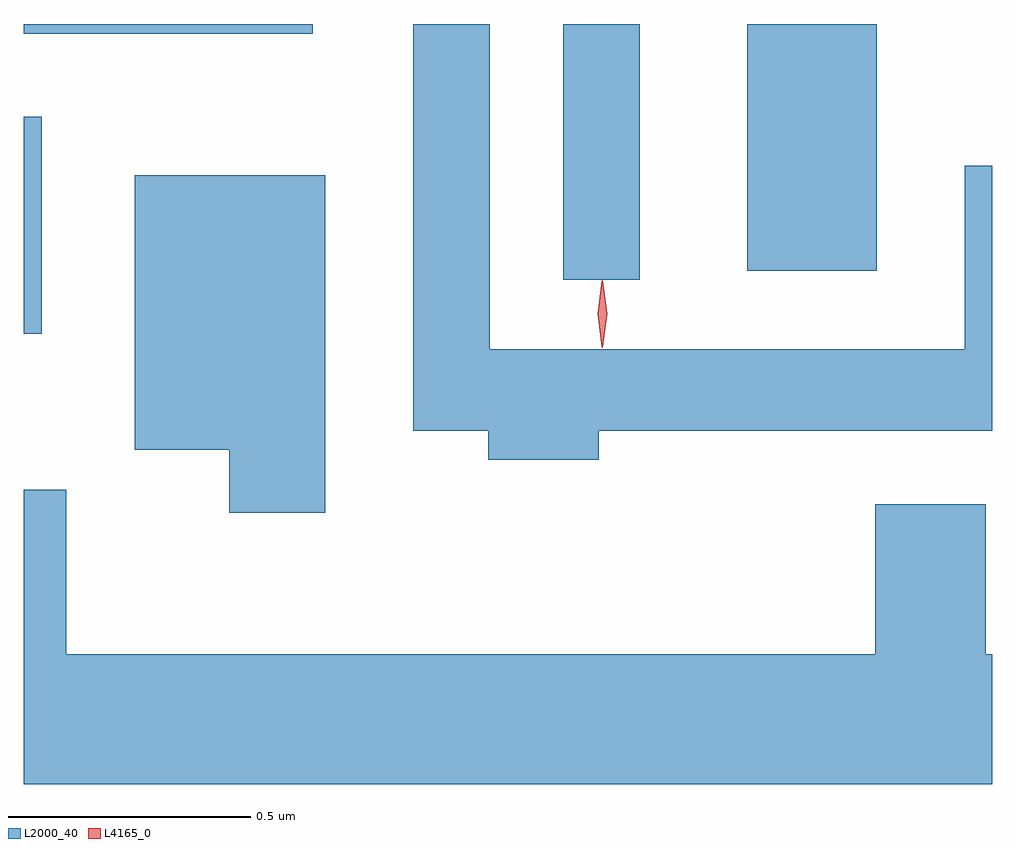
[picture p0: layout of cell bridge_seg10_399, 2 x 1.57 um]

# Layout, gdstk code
import gdstk
lib = gdstk.Library(unit=1e-6, precision=1e-09)
def R(c, l, rs):  # rectangles x0, y0, x1, y1
    for r in rs: c.add(gdstk.rectangle(r[:2], r[2:], *l))
def P(c, l, *ps):  # polygons
    for p in ps: c.add(gdstk.Polygon(p, *l))
L2000_40 = (2000, 40)
L4165_0 = (4165, 0)

bridge_seg10_399 = lib.new_cell('bridge_seg10_399')
R(bridge_seg10_399, L2000_40, [(1062.912,2125.946,1062.949,2126.394), (1064.026,2126.058,1064.184,2126.586), (1064.406,2126.076,1064.674,2126.586), (1062.912,2126.566,1063.509,2126.586)])
P(bridge_seg10_399, L2000_40, [(1064.099,2125.746),(1064.912,2125.746),(1064.912,2126.293),(1064.856,2126.293),(1064.856,2125.914),(1063.874,2125.914),(1063.874,2126.586),(1063.716,2126.586),(1063.716,2125.746),(1063.871,2125.746),(1063.871,2125.686),(1064.099,2125.686)],
  [(1063.534,2126.274),(1063.141,2126.274),(1063.141,2125.706),(1063.336,2125.706),(1063.336,2125.576),(1063.534,2125.576)],
  [(1064.912,2125.284),(1064.899,2125.284),(1064.899,2125.594),(1064.671,2125.594),(1064.671,2125.284),(1062.999,2125.284),(1062.999,2125.624),(1062.912,2125.624),(1062.912,2125.016),(1064.912,2125.016)])
P(bridge_seg10_399, L4165_0, [(1064.107,2125.917),(1064.106,2125.918),(1064.097,2125.987),(1064.106,2126.056),(1064.107,2126.056),(1064.108,2126.056),(1064.117,2125.987),(1064.108,2125.918)],
  [(1064.107,2125.919),(1064.106,2125.92),(1064.097,2125.986),(1064.106,2126.053),(1064.107,2126.053),(1064.108,2126.053),(1064.117,2125.986),(1064.108,2125.92)])

lib.write_gds('bridge_seg10_399.gds')
